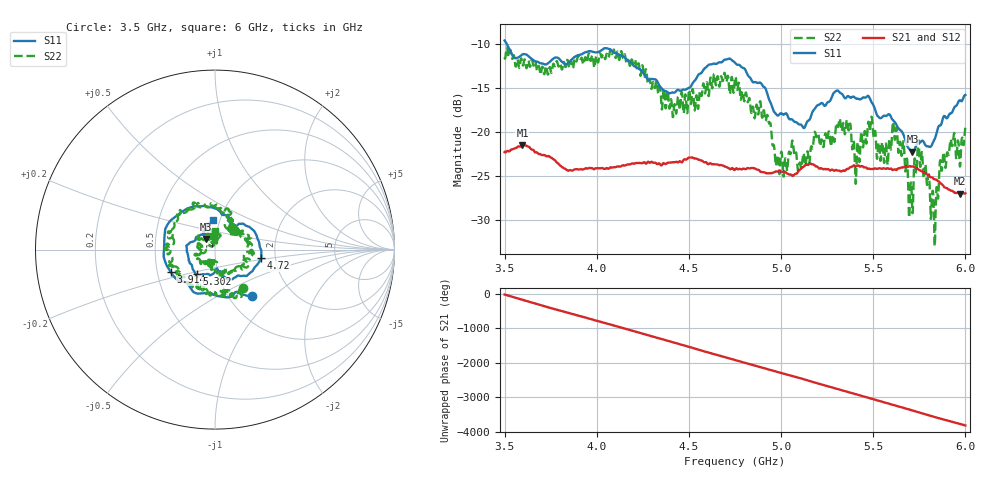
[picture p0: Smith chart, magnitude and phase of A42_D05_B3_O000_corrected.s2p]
! Created with skrf 1.9.0 (http://scikit-rf.org).
# Hz S RI R 50.0
!freq ReS11 ImS11 ReS21 ImS21 ReS12 ImS12 ReS22 ImS22
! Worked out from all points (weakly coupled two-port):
!   1601 points, 3.5 GHz to 6 GHz, reference 50 ohm
!   highest |S21| = -21.45 dB at 3.597 GHz (marker M1); lowest = -27.0 dB at 5.972 GHz (marker M2)
!   lowest |S11| = -22.2 dB at 5.713 GHz (marker M3), VSWR 1.17, Z = 45 + j5.4 ohm
!   |S11| at or under -10 dB: 3.512 GHz to end of sweep
!   |S22| runs from -32.9 to -10.4 dB; largest |S21 - S12| = 0.0011
!   S11 on the Smith chart (normalised r, x): 3.5 GHz: 1.27, -0.74; 3.914 GHz: 0.59, -0.16; 4.72 GHz: 1.68, -0.17; 5.302 GHz: 0.79, -0.22; 6 GHz: 0.93, +0.31
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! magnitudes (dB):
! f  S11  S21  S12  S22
! 3.5 GHz  -9.6  -22.3  -22.2  -11.5
! 3.597 GHz  -11.2  -21.5  -21.4  -12.3
! 3.914 GHz  -11.2  -24.2  -24.1  -11.7
! 3.917 GHz  -11.2  -24.2  -24.2  -11.5
! 4.334 GHz  -14.5  -23.6  -23.5  -15.6
! 4.422 GHz  -15.5  -23.4  -23.4  -16.8
! 4.72 GHz  -11.6  -24.2  -24.1  -15.6
! 4.75 GHz  -12.1  -24.3  -24.1  -13.9
! 4.933 GHz  -16.2  -24.7  -24.6  -18.8
! 4.981 GHz  -18.1  -24.5  -24.4  -22.6
! 5.167 GHz  -17.9  -23.6  -23.6  -21.7
! 5.302 GHz  -15.3  -24.3  -24.2  -19.0
! 5.412 GHz  -16.2  -23.8  -23.8  -21.8
! 5.483 GHz  -16.2  -24.2  -24.1  -19.8
! 5.584 GHz  -18.0  -24.2  -24.1  -21.6
! 5.617 GHz  -18.9  -24.2  -24.1  -20.9
! 5.713 GHz  -22.2  -23.9  -23.8  -29.2
! 5.753 GHz  -21.2  -24.3  -24.2  -23.7
! 5.825 GHz  -21.1  -25.2  -25.1  -26.9
! 5.872 GHz  -18.9  -25.9  -25.8  -24.4
! 5.972 GHz  -16.4  -27.0  -26.9  -23.8
! 6 GHz  -15.8  -26.9  -26.9  -19.5
